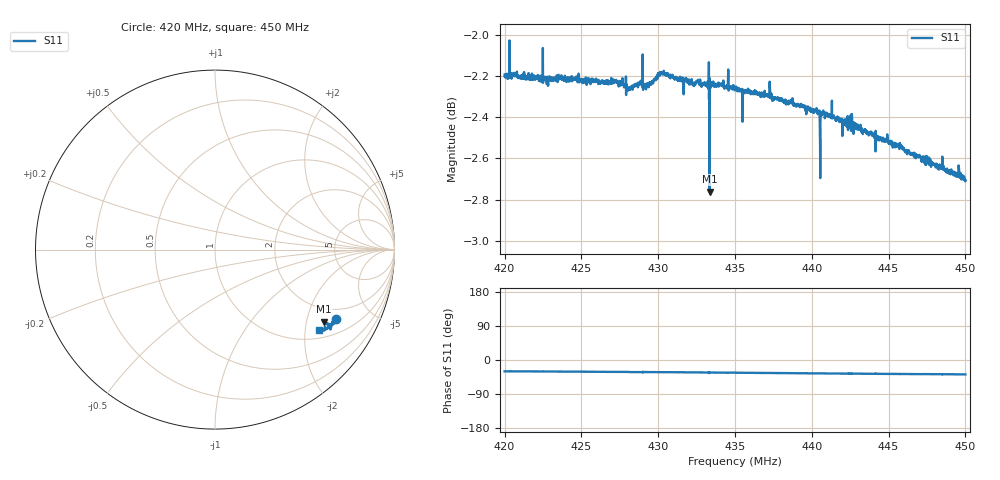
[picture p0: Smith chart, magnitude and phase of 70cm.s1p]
! Calibrated averaged scanner-service zoom
# Hz S RI R 50
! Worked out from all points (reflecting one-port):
!   3001 points, 420 MHz to 450 MHz, reference 50 ohm
!   lowest |S11| = -2.8 dB at 433.3 MHz (marker M1), VSWR 6.35, Z = 74.6 - j127 ohm
!   phase of S11 starts at -30 deg and turns -8 deg over the sweep
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4.2e8  0.6736 -0.387
4.2238e8  0.6696 -0.3907
4.2375e8  0.667 -0.3941
4.2675e8  0.6603 -0.4012
4.275e8  0.6615 -0.4019
4.2785e8  0.6593 -0.4024
4.2818e8  0.656 -0.4061
4.2885e8  0.6561 -0.411
4.2916e8  0.6573 -0.4066
4.2985e8  0.6559 -0.4128
4.3016e8  0.6602 -0.4115
4.3125e8  0.6548 -0.4152
4.3173e8  0.6536 -0.4158
4.3311e8  0.6486 -0.4199
4.3319e8  0.6487 -0.4201
4.3334e8  0.6071 -0.4013
4.3349e8  0.6478 -0.4223
4.335e8  0.6477 -0.4221
4.3357e8  0.6475 -0.4222
4.35e8  0.6425 -0.4252
4.3875e8  0.6288 -0.4373
4.4036e8  0.6207 -0.4394
4.4052e8  0.6173 -0.4376
4.4082e8  0.6199 -0.4409
4.425e8  0.6127 -0.4403
4.428e8  0.6098 -0.444
4.4625e8  0.5943 -0.4482
4.5e8  0.5775 -0.4501
